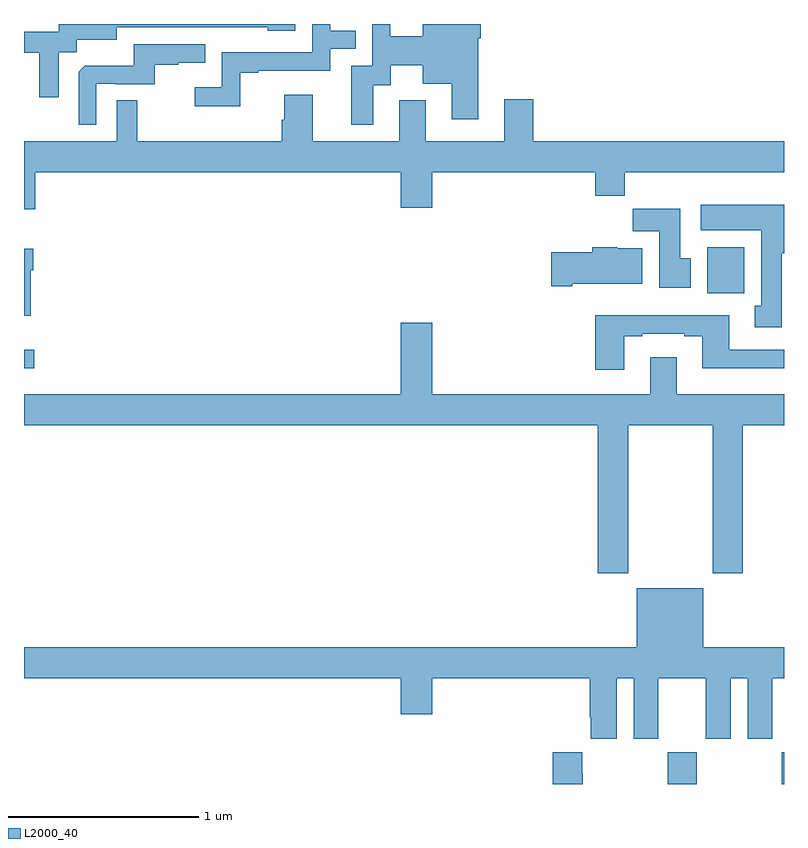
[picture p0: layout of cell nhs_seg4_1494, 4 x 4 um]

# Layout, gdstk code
import gdstk
lib = gdstk.Library(unit=1e-6, precision=1e-09)
def R(c, l, rs):  # rectangles x0, y0, x1, y1
    for r in rs: c.add(gdstk.rectangle(r[:2], r[2:], *l))
def P(c, l, *ps):  # polygons
    for p in ps: c.add(gdstk.Polygon(p, *l))
L2000_40 = (2000, 40)

nhs_seg4_1494 = lib.new_cell('nhs_seg4_1494')
R(nhs_seg4_1494, L2000_40, [(190.387,826.9,190.542,827.068), (190.987,826.9,191,827.068), (187,829.088,187.054,829.185), (190.595,829.484,190.792,829.726)])
P(nhs_seg4_1494, L2000_40, [(187.183,830.752),(187.278,830.752),(187.278,830.816),(187.489,830.816),(187.489,830.883),(188.047,830.883),(188.047,830.882),(188.283,830.882),(188.283,830.864),(188.428,830.864),(188.428,830.9),(187.182,830.9),(187.182,830.86),(187,830.86),(187,830.75),(187.079,830.75),(187.079,830.514),(187.183,830.514)],
  [(188.139,830.643),(188.233,830.643),(188.233,830.655),(188.613,830.655),(188.613,830.769),(188.747,830.769),(188.747,830.865),(188.613,830.865),(188.613,830.9),(188.517,830.9),(188.517,830.751),(188.04,830.751),(188.04,830.566),(187.899,830.566),(187.899,830.468),(188.139,830.468)],
  [(188.839,830.578),(188.929,830.578),(188.929,830.684),(189.098,830.684),(189.098,830.585),(189.251,830.585),(189.251,830.4),(189.391,830.4),(189.391,830.825),(189.404,830.825),(189.404,830.9),(189.098,830.9),(189.098,830.836),(188.928,830.836),(188.928,830.9),(188.832,830.9),(188.832,830.679),(188.723,830.679),(188.723,830.37),(188.839,830.37)],
  [(187.38,830.586),(187.48,830.586),(187.48,830.583),(187.688,830.583),(187.688,830.685),(187.811,830.685),(187.811,830.696),(187.955,830.696),(187.955,830.793),(187.578,830.793),(187.578,830.681),(187.319,830.681),(187.287,830.649),(187.287,830.369),(187.38,830.369)],
  [(188.984,829.932),(189.148,829.932),(189.148,830.12),(190.007,830.12),(190.007,829.996),(190.163,829.996),(190.163,830.12),(191,830.12),(191,830.284),(189.68,830.284),(189.68,830.503),(189.527,830.503),(189.527,830.284),(189.115,830.284),(189.115,830.5),(188.975,830.5),(188.975,830.284),(188.521,830.284),(188.521,830.527),(188.369,830.527),(188.369,830.397),(188.357,830.397),(188.357,830.284),(187.597,830.284),(187.597,830.498),(187.488,830.498),(187.488,830.284),(187,830.284),(187,829.926),(187.058,829.926),(187.058,830.12),(188.984,830.12)],
  [(190.987,829.694),(191,829.694),(191,829.948),(190.563,829.948),(190.563,829.814),(190.88,829.814),(190.88,829.418),(190.847,829.418),(190.847,829.305),(190.987,829.305)],
  [(190.51,829.668),(190.453,829.668),(190.453,829.927),(190.204,829.927),(190.204,829.808),(190.343,829.808),(190.343,829.512),(190.51,829.512)],
  [(189.886,829.532),(190.255,829.532),(190.255,829.72),(190.122,829.72),(190.122,829.726),(189.992,829.726),(189.992,829.698),(189.774,829.698),(189.774,829.52),(189.886,829.52)],
  [(187.036,829.604),(187.049,829.604),(187.049,829.717),(187,829.717),(187,829.364),(187.036,829.364)],
  [(190.159,829.257),(190.255,829.257),(190.255,829.269),(190.475,829.269),(190.475,829.257),(190.571,829.257),(190.571,829.088),(191,829.088),(191,829.185),(190.711,829.185),(190.711,829.366),(190.007,829.366),(190.007,829.08),(190.159,829.08)],
  [(190.179,828.788),(190.624,828.788),(190.624,828.009),(190.784,828.009),(190.784,828.788),(191,828.788),(191,828.952),(190.435,828.952),(190.435,829.147),(190.295,829.147),(190.295,828.952),(189.148,828.952),(189.148,829.327),(188.984,829.327),(188.984,828.952),(187,828.952),(187,828.788),(190.019,828.788),(190.019,828.009),(190.179,828.009)],
  [(190.12,827.456),(190.208,827.456),(190.208,827.139),(190.339,827.139),(190.339,827.456),(190.589,827.456),(190.589,827.139),(190.72,827.139),(190.72,827.456),(190.808,827.456),(190.808,827.139),(190.939,827.139),(190.939,827.456),(191,827.456),(191,827.62),(190.576,827.62),(190.576,827.929),(190.226,827.929),(190.226,827.62),(187,827.62),(187,827.456),(188.984,827.456),(188.984,827.268),(189.148,827.268),(189.148,827.456),(189.977,827.456),(189.977,827.251),(189.983,827.251),(189.983,827.139),(190.12,827.139)],
  [(189.942,826.955),(189.937,826.955),(189.937,827.068),(189.782,827.068),(189.782,826.9),(189.942,826.9)])

lib.write_gds('nhs_seg4_1494.gds')
